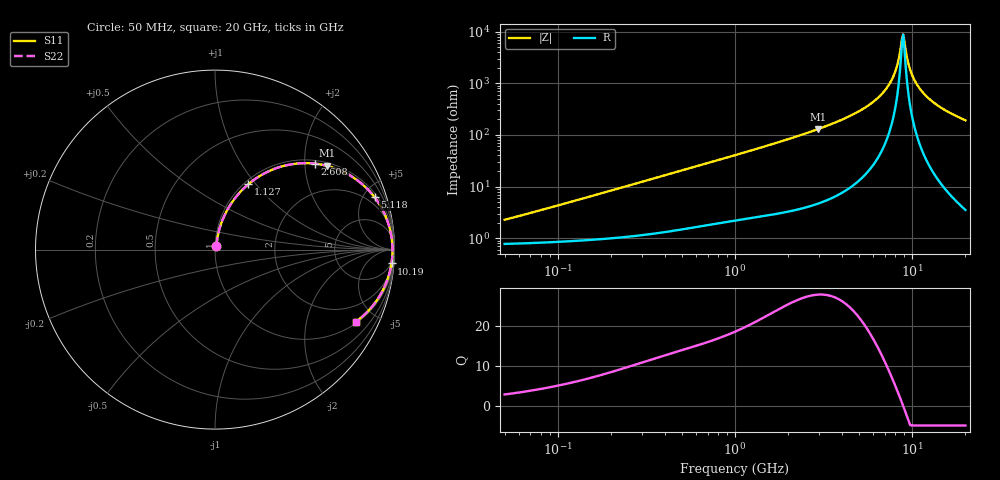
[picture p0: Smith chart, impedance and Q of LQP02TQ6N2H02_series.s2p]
!Murata Part Number: LQP02TQ6N2H02
!These Parameters are Measured in Series Mode Connection
!  o--[Z]--o
!Port1  Port2
!  o-------o
!Freq. Start=50[MHz] Stop=20[GHz], 401[Steps]
# Hz S RI R 50
!Freq.(Hz) S11(Real) S11(Imag) S21(Real) S21(Imag) S12(Real) S12(Imag) S22(Real) S22(Imag)
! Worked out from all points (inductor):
!   401 points, 50 MHz to 20 GHz, reference 50 ohm
!   read as one part in series: L = 6.77 nH near 55.53 MHz
!   highest Q = 27.8 at 2.94 GHz (marker M1), where L = 7.01 nH
!   self-resonance near 8.775 GHz
!   S11 on the Smith chart (normalised r, x): 50 MHz: 1.02, +0.04; 1.127 GHz: 1.05, +0.91; 2.608 GHz: 1.08, +2.24; 5.118 GHz: 1.28, +5.99; 10.19 GHz: 4, -25; 20 GHz: 1.07, -3.85
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5e7  0.00812 0.021  0.9919 -0.021  0.9919 -0.021  0.00812 0.021
1.364002e8  0.0121 0.056  0.9879 -0.056  0.9879 -0.056  0.0121 0.056
3.721004e8  0.0345 0.1458  0.9655 -0.1458  0.9655 -0.1458  0.0345 0.1458
1e9  0.1539 0.3348  0.8461 -0.3348  0.8461 -0.3348  0.1539 0.3348
1.127304e9  0.1847 0.3634  0.8153 -0.3634  0.8153 -0.3634  0.1847 0.3634
2.608132e9  0.5552 0.479  0.4448 -0.479  0.4448 -0.479  0.5552 0.479
2.728004e9  0.5805 0.4757  0.4195 -0.4757  0.4195 -0.4757  0.5805 0.4757
2.940159e9  0.6227 0.4671  0.3773 -0.4671  0.3773 -0.4671  0.6227 0.4671
5.117541e9  0.889 0.2918  0.111 -0.2918  0.111 -0.2918  0.889 0.2918
6.406762e9  0.953 0.18  0.047 -0.18  0.047 -0.18  0.953 0.18
7.442007e9  0.978 0.099  0.022 -0.099  0.022 -0.099  0.978 0.099
8.020766e9  0.9851 0.0575  0.0149 -0.0575  0.0149 -0.0575  0.9851 0.0575
8.264682e9  0.9869 0.0407  0.0131 -0.0407  0.0131 -0.0407  0.9869 0.0407
8.644534e9  0.9885 0.0155  0.0115 -0.0155  0.0115 -0.0155  0.9885 0.0155
8.907419e9  0.9889 -0.00133  0.0111 0.00133  0.0111 0.00133  0.9889 -0.00133
9.178299e9  0.9887 -0.0182  0.0113 0.0182  0.0113 0.0182  0.9887 -0.0182
9.600142e9  0.9873 -0.0434  0.0127 0.0434  0.0127 0.0434  0.9873 -0.0434
1.019291e10  0.9834 -0.077  0.0166 0.077  0.0166 0.077  0.9834 -0.077
1.131968e10  0.9709 -0.135  0.0291 0.135  0.0291 0.135  0.9709 -0.135
1.295331e10  0.9445 -0.2074  0.0555 0.2074  0.0555 0.2074  0.9445 -0.2074
1.573793e10  0.8858 -0.3043  0.1142 0.3043  0.1142 0.3043  0.8858 -0.3043
2e10  0.7833 -0.403  0.2167 0.403  0.2167 0.403  0.7833 -0.403
